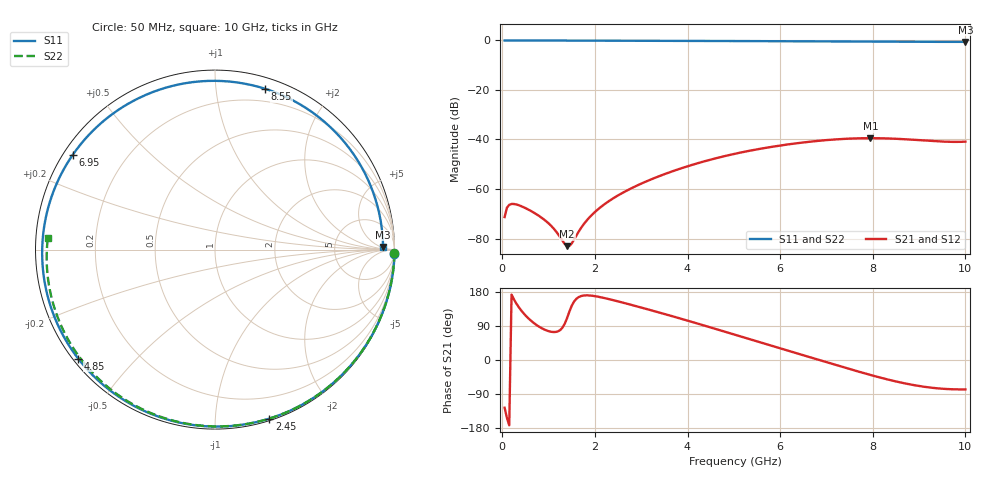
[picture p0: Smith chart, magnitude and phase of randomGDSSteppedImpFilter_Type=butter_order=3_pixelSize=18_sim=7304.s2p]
! freq	dB(S11)	phase(S11)	dB(S12)	phase(S12)
!  dB(S21)	phase(S21)	dB(S22)	phase(S22)
!S-par simulation data
#  GHz  S  DB  R 50
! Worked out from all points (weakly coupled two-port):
!   200 points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, 50 MHz to 10 GHz, reference 50 ohm
!   highest |S21| = -39.46 dB at 7.95 GHz (marker M1); lowest = -83.1 dB at 1.4 GHz (marker M2)
!   lowest |S11| = -0.6 dB at 10 GHz (marker M3), VSWR 30.52, Z = 1.45e+03 + j329 ohm
!   |S11| at or under -10 dB: nowhere
!   |S22| runs from -0.6 to 0.0 dB; largest |S21 - S12| = 0
!   S11 on the Smith chart (normalised r, x): 50 MHz: 0, -76; 2.45 GHz: 0.02, -1.37; 4.85 GHz: 0.01, -0.35; 6.95 GHz: 0.03, +0.30; 8.55 GHz: 0.09, +1.36; 10 GHz: 29, +7
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0.05  -0.00 -1.5  -71.32 -125.9  -71.32 -125.9  -0.00 -1.0
0.1  -0.00 -3.0  -67.54 -153.0  -67.54 -153.0  -0.00 -2.1
0.15  -0.00 -4.5  -66.38 -172.4  -66.38 -172.4  -0.00 -3.1
0.35  -0.01 -10.6  -66.51 140.4  -66.51 140.4  -0.00 -7.3
0.9  -0.03 -27.0  -72.30 80.9  -72.30 80.9  -0.02 -18.7
1.25  -0.05 -37.3  -79.47 79.0  -79.47 79.0  -0.03 -25.8
1.4  -0.05 -41.7  -83.08 111.1  -83.08 111.1  -0.04 -28.9
1.55  -0.06 -46.1  -80.41 154.4  -80.41 154.4  -0.04 -31.9
1.75  -0.07 -51.9  -74.43 170.0  -74.43 170.0  -0.05 -35.9
2.45  -0.09 -72.1  -63.13 156.3  -63.13 156.3  -0.06 -49.8
3.4  -0.14 -99.3  -54.72 124.9  -54.72 124.9  -0.09 -68.0
4.1  -0.17 -119.3  -50.24 100.4  -50.24 100.4  -0.11 -80.9
4.85  -0.22 -141.5  -46.50 73.0  -46.50 73.0  -0.14 -94.3
5.05  -0.24 -147.5  -45.66 65.7  -45.66 65.7  -0.15 -97.8
5.9  -0.31 -174.9  -42.73 34.4  -42.73 34.4  -0.19 -112.5
6.7  -0.40 156.1  -40.78 5.2  -40.78 5.2  -0.25 -126.1
6.95  -0.42 146.3  -40.33 -3.9  -40.33 -3.9  -0.26 -130.3
7.95  -0.52 102.2  -39.46 -39.5  -39.46 -39.5  -0.35 -147.2
8.35  -0.54 82.7  -39.59 -52.3  -39.59 -52.3  -0.39 -154.1
8.55  -0.55 72.6  -39.75 -58.0  -39.75 -58.0  -0.41 -157.6
9.3  -0.56 34.6  -40.63 -73.6  -40.63 -73.6  -0.50 -170.9
10  -0.57 0.9  -40.87 -77.7  -40.87 -77.7  -0.60 175.9
